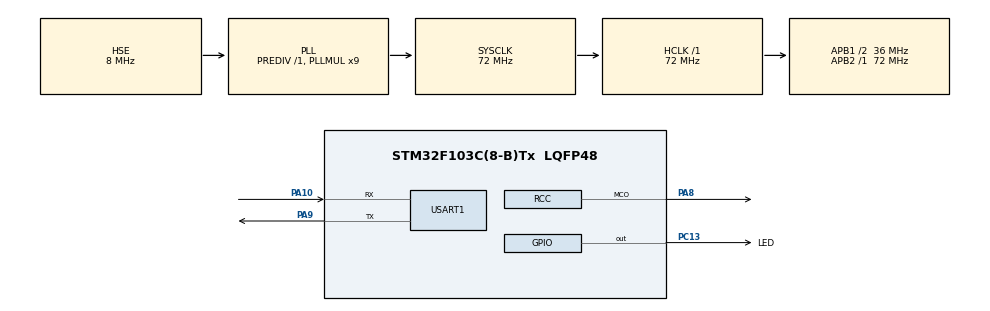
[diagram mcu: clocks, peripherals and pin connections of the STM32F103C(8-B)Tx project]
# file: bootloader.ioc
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Mcu.Family=STM32F1
Mcu.Name=STM32F103C(8-B)Tx
Mcu.Package=LQFP48
NVIC.PriorityGroup=NVIC_PRIORITYGROUP_4
NVIC.USART1_IRQn=true\:0\:0\:false\:false\:true\:true\:true\:true
PA10.Mode=Asynchronous
PA10.Signal=USART1_RX
PA13.Mode=Serial_Wire
PA13.Signal=SYS_JTMS-SWDIO
PA14.Mode=Serial_Wire
PA14.Signal=SYS_JTCK-SWCLK
PA8.Mode=Clock-out
PA8.Signal=RCC_MCO
PA9.Mode=Asynchronous
PA9.Signal=USART1_TX
PC13-TAMPER-RTC.GPIO_Label=LED
PC13-TAMPER-RTC.Signal=GPIO_Output
PC14-OSC32_IN.Mode=LSE-External-Oscillator
PC14-OSC32_IN.Signal=RCC_OSC32_IN
PC15-OSC32_OUT.Mode=LSE-External-Oscillator
PC15-OSC32_OUT.Signal=RCC_OSC32_OUT
PD0-OSC_IN.Mode=HSE-External-Oscillator
PD0-OSC_IN.Signal=RCC_OSC_IN
PD1-OSC_OUT.Mode=HSE-External-Oscillator
PD1-OSC_OUT.Signal=RCC_OSC_OUT
ProjectManager.HeapSize=0x200
ProjectManager.StackSize=0x400
ProjectManager.TargetToolchain=STM32CubeIDE
RCC.AHBFreq_Value=72000000
RCC.APB1CLKDivider=RCC_HCLK_DIV2
RCC.APB1Freq_Value=36000000
RCC.APB1TimFreq_Value=72000000
RCC.APB2Freq_Value=72000000
RCC.APB2TimFreq_Value=72000000
RCC.HCLKFreq_Value=72000000
RCC.PLLMUL=RCC_PLL_MUL9
RCC.PLLSourceVirtual=RCC_PLLSOURCE_HSE
RCC.RCC_MCOSource=RCC_MCO1SOURCE_PLLCLK
RCC.SYSCLKFreq_VALUE=72000000
RCC.SYSCLKSource=RCC_SYSCLKSOURCE_PLLCLK
RCC.USBFreq_Value=72000000
USART1.VirtualMode=VM_ASYNC
board=custom

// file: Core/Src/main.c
/* USER CODE BEGIN Header */
/**
  ******************************************************************************
  * @file           : main.c
  * @brief          : Main program body
  ******************************************************************************
  * @attention
  *
  * Copyright (c) 2023 STMicroelectronics.
  * All rights reserved.
  *
  * This software is licensed under terms that can be found in the LICENSE file
  * in the root directory of this software component.
  * If no LICENSE file comes with this software, it is provided AS-IS.
  *
  ******************************************************************************
  */
/* USER CODE END Header */
#include "main.h"
#include "usart.h"
#include "gpio.h"
#include "flash_if.h"

#include "xmodem.h"

/* USER CODE BEGIN Includes */
#include <stdio.h>
#include <string.h>

/* USER CODE END Includes */

/* USER CODE BEGIN PM */
#ifdef __GNUC__
#define PUTCHAR_PROTOTYPE int __io_putchar(int ch)
#else
#define PUTCHAR_PROTOTYPE int fputc(int ch, FILE *f)
#endif
PUTCHAR_PROTOTYPE
{
    HAL_UART_Transmit(&huart1 , (uint8_t *)&ch, 1, 0xFFFF);
    return ch;
}

#define PEEK "peek"
#define POKE "poke"
#define LOAD "load"
#define RUN  "run"
#define PRINT "print"

#define REC_LENGTH  1
#define MAX_REC_LENGTH  1024

typedef unsigned int uint32;
typedef void (*pFunction)(void);
/* USER CODE END PM */

/* USER CODE BEGIN PV */
unsigned char UART1_Rx_Buf[MAX_REC_LENGTH];
unsigned char UART1_Rx_flg ;
unsigned int  UART1_Rx_cnt ;
unsigned char UART1_temp[REC_LENGTH];

uint32_t JumpAddress;
pFunction Jump_To_Application;

/* USER CODE END PV */

void SystemClock_Config(void);

int main(void)
{

  /* MCU Configuration--------------------------------------------------------*/

  /* Reset of all peripherals, Initializes the Flash interface and the Systick. */
  HAL_Init();

  /* Configure the system clock */
  SystemClock_Config();

  /* Initialize all configured peripherals */
  MX_GPIO_Init();
  MX_USART1_UART_Init();
  /* USER CODE BEGIN 2 */
  FLASH_If_Init();
  HAL_UART_Receive_IT(&huart1, (uint8_t *)UART1_temp, REC_LENGTH);//open the uart1 interrupt
  HAL_Delay(2000);

  unsigned int a,b,c,d,e,f;
  printf("a, Addr:%08X  -> Data:%08X \r\n",(uint32)&a, a);
  printf("b, Addr:%08X  -> Data:%08X \r\n",(uint32)&b, b);
  printf("c, Addr:%08X  -> Data:%08X \r\n",(uint32)&c, c);
  printf("d, Addr:%08X  -> Data:%08X \r\n",(uint32)&d, d);
  printf("e, Addr:%08X  -> Data:%08X \r\n",(uint32)&e, e);
  printf("f, Addr:%08X  -> Data:%08X \r\n",(uint32)&f, f);
//  while(1){
//	  HAL_GPIO_TogglePin(LED_GPIO_Port, LED_Pin);
//	  	  HAL_Delay(500);
//  }

  /* USER CODE END 2 */

  /* Infinite loop */
  /* USER CODE BEGIN WHILE */
  while (1)
  {

	  if(UART1_Rx_flg){// 处理传输的命令
		  printf(">>> %s\r\n",UART1_Rx_Buf);

		  char cmd[10];
		  uint32 arg0,arg1;
		  sscanf((const char*)UART1_Rx_Buf,"%s",cmd);
		  if( !strcmp(PEEK, cmd) ){
			  sscanf((const char*)UART1_Rx_Buf,"%s %08x",cmd,&arg0);
			  printf("INS: peek  PARA: %x -> DATA: %08x\r\n",arg0,*(int*)arg0);
		  }
		  else if(!strcmp(POKE, cmd)){
			  sscanf((const char*)UART1_Rx_Buf,"%s %08x %08x",cmd,&arg0,&arg1);
			  *(int*)arg0 = arg1;
			  printf("INS: poke  PARA1: %x  PARA2: %08x\r\n",arg0,*(int*)arg0);
		  }
		  else if(!strcmp(LOAD, cmd)){
			  sscanf((const char*)UART1_Rx_Buf,"%s %08x",cmd,&arg0);
			  printf("INS: load  PARA: %x\r\n", arg0);
			  if((uint32_t)arg0 <0x08008000 || (uint32_t)arg0 > 0x0800FFFF ){
				  printf("Invalid ADDR!!! \r\n");
			  }

			  Xmodem_Receive(&huart1, (uint32_t *)arg0);
		  }
		  else if(!strcmp(RUN, cmd)){
			  sscanf((const char*)UART1_Rx_Buf,"%s %08x",cmd,&arg0);
			  printf("INS: run  PARA: %08X \r\n",arg0);

			  JumpAddress = *(__IO uint32_t*) (arg0 + 4);
			  Jump_To_Application = (pFunction) JumpAddress;
			  __set_MSP(*(__IO uint32_t*) arg0);
			  Jump_To_Application();
		  }
		  else if(!strcmp(PRINT, cmd)){
			  sscanf((const char*)UART1_Rx_Buf,"%s %08x",cmd,&arg0);
			  printf("INS:print  PARA: %08X \r\n",arg0);
			  uint8_t* addr = (uint8_t*)arg0;
			  while(*addr != 0x00){
				  HAL_UART_Transmit(&huart1, addr,1, 0xFFFF);
				  addr +=1;
			  }
		  }
		  else {
			  printf("Invalid CMD!!!\r\n");
		  }

		  for(int i = 0;i < UART1_Rx_cnt; i++)
			  UART1_Rx_Buf[i] = 0;
		  UART1_Rx_cnt = 0;
		  UART1_Rx_flg = 0;
	  }
    /* USER CODE END WHILE */

  }
}

void SystemClock_Config(void)
{
  RCC_OscInitTypeDef RCC_OscInitStruct = {0};
  RCC_ClkInitTypeDef RCC_ClkInitStruct = {0};

  /** Initializes the RCC Oscillators according to the specified parameters
  * in the RCC_OscInitTypeDef structure.
  */
  RCC_OscInitStruct.OscillatorType = RCC_OSCILLATORTYPE_HSE;
  RCC_OscInitStruct.HSEState = RCC_HSE_ON;
  RCC_OscInitStruct.HSEPredivValue = RCC_HSE_PREDIV_DIV1;
  RCC_OscInitStruct.HSIState = RCC_HSI_ON;
  RCC_OscInitStruct.PLL.PLLState = RCC_PLL_ON;
  RCC_OscInitStruct.PLL.PLLSource = RCC_PLLSOURCE_HSE;
  RCC_OscInitStruct.PLL.PLLMUL = RCC_PLL_MUL9;
  if (HAL_RCC_OscConfig(&RCC_OscInitStruct) != HAL_OK)
  {
    Error_Handler();
  }

  /** Initializes the CPU, AHB and APB buses clocks
  */
  RCC_ClkInitStruct.ClockType = RCC_CLOCKTYPE_HCLK|RCC_CLOCKTYPE_SYSCLK
                              |RCC_CLOCKTYPE_PCLK1|RCC_CLOCKTYPE_PCLK2;
  RCC_ClkInitStruct.SYSCLKSource = RCC_SYSCLKSOURCE_PLLCLK;
  RCC_ClkInitStruct.AHBCLKDivider = RCC_SYSCLK_DIV1;
  RCC_ClkInitStruct.APB1CLKDivider = RCC_HCLK_DIV2;
  RCC_ClkInitStruct.APB2CLKDivider = RCC_HCLK_DIV1;

  if (HAL_RCC_ClockConfig(&RCC_ClkInitStruct, FLASH_LATENCY_2) != HAL_OK)
  {
    Error_Handler();
  }
  HAL_RCC_MCOConfig(RCC_MCO, RCC_MCO1SOURCE_PLLCLK, RCC_MCODIV_1);
}

/* USER CODE BEGIN 4 */
void HAL_UART_RxCpltCallback(UART_HandleTypeDef *huart)
{
//	printf("????");
	if(huart == &huart1){
		UART1_Rx_Buf[UART1_Rx_cnt] = UART1_temp[0];
		UART1_Rx_cnt++;
		if(0x0D == UART1_temp[0]){
			UART1_Rx_flg = 1;
		}
		HAL_UART_Receive_IT(&huart1, (uint8_t *)UART1_temp, REC_LENGTH);
	}
}

/* USER CODE END 4 */

void Error_Handler(void)
{
  __disable_irq();
  while (1)
  {
  }
}
